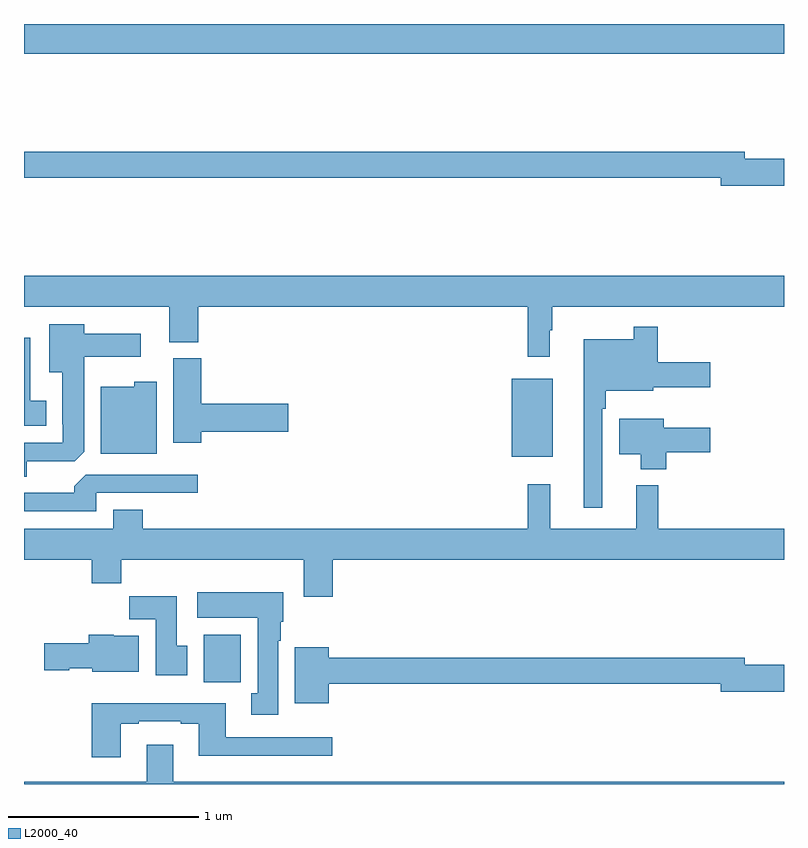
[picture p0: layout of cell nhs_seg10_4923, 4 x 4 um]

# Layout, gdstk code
import gdstk
lib = gdstk.Library(unit=1e-6, precision=1e-09)
def R(c, l, rs):  # rectangles x0, y0, x1, y1
    for r in rs: c.add(gdstk.rectangle(r[:2], r[2:], *l))
def P(c, l, *ps):  # polygons
    for p in ps: c.add(gdstk.Polygon(p, *l))
L2000_40 = (2000, 40)

nhs_seg10_4923 = lib.new_cell('nhs_seg10_4923')
R(nhs_seg10_4923, L2000_40, [(395.945,1269.036,396.141,1269.286), (397.568,1270.223,397.783,1270.633), (395,1272.344,399,1272.5)])
P(nhs_seg10_4923, L2000_40, [(399,1271.792),(398.794,1271.792),(398.794,1271.828),(395,1271.828),(395,1271.692),(398.666,1271.692),(398.666,1271.65),(399,1271.65)],
  [(397.768,1270.889),(397.78,1270.889),(397.78,1271.012),(399,1271.012),(399,1271.176),(395,1271.176),(395,1271.012),(395.765,1271.012),(395.765,1270.825),(395.918,1270.825),(395.918,1271.012),(397.651,1271.012),(397.651,1270.749),(397.768,1270.749)],
  [(395.014,1270.2),(395.268,1270.2),(395.317,1270.249),(395.317,1270.748),(395.614,1270.748),(395.614,1270.87),(395.317,1270.87),(395.317,1270.921),(395.132,1270.921),(395.132,1270.667),(395.201,1270.667),(395.201,1270.393),(395.205,1270.393),(395.205,1270.296),(395,1270.296),(395,1270.117),(395.014,1270.117)],
  [(398.043,1270.475),(398.063,1270.475),(398.063,1270.571),(398.313,1270.571),(398.313,1270.589),(398.611,1270.589),(398.611,1270.719),(398.336,1270.719),(398.336,1270.906),(398.208,1270.906),(398.208,1270.84),(397.946,1270.84),(397.946,1269.954),(398.043,1269.954)],
  [(395.116,1270.516),(395.032,1270.516),(395.032,1270.849),(395,1270.849),(395,1270.385),(395.116,1270.385)],
  [(395.933,1270.355),(396.391,1270.355),(396.391,1270.502),(395.933,1270.502),(395.933,1270.74),(395.786,1270.74),(395.786,1270.296),(395.933,1270.296)],
  [(395.698,1270.618),(395.58,1270.618),(395.58,1270.591),(395.405,1270.591),(395.405,1270.238),(395.698,1270.238)],
  [(398.381,1270.246),(398.611,1270.246),(398.611,1270.375),(398.368,1270.375),(398.368,1270.423),(398.132,1270.423),(398.132,1270.235),(398.246,1270.235),(398.246,1270.157),(398.381,1270.157)],
  [(395.379,1270.032),(395.914,1270.032),(395.914,1270.128),(395.325,1270.128),(395.264,1270.066),(395.264,1270.032),(395,1270.032),(395,1269.936),(395.379,1269.936)],
  [(396.626,1269.68),(399,1269.68),(399,1269.844),(398.339,1269.844),(398.339,1270.072),(398.222,1270.072),(398.222,1269.844),(397.769,1269.844),(397.769,1270.078),(397.651,1270.078),(397.651,1269.844),(395.624,1269.844),(395.624,1269.943),(395.471,1269.943),(395.471,1269.844),(395,1269.844),(395,1269.68),(395.357,1269.68),(395.357,1269.556),(395.513,1269.556),(395.513,1269.68),(396.473,1269.68),(396.473,1269.486),(396.626,1269.486)],
  [(396.337,1269.254),(396.352,1269.254),(396.352,1269.354),(396.364,1269.354),(396.364,1269.508),(395.913,1269.508),(395.913,1269.374),(396.23,1269.374),(396.23,1268.977),(396.197,1268.977),(396.197,1268.865),(396.337,1268.865)],
  [(395.86,1269.228),(395.803,1269.228),(395.803,1269.487),(395.554,1269.487),(395.554,1269.368),(395.693,1269.368),(395.693,1269.072),(395.86,1269.072)],
  [(395.605,1269.28),(395.472,1269.28),(395.472,1269.286),(395.342,1269.286),(395.342,1269.24),(395.106,1269.24),(395.106,1269.098),(395.238,1269.098),(395.238,1269.11),(395.358,1269.11),(395.358,1269.092),(395.605,1269.092)],
  [(396.604,1269.028),(398.666,1269.028),(398.666,1268.986),(399,1268.986),(399,1269.128),(398.794,1269.128),(398.794,1269.164),(396.604,1269.164),(396.604,1269.22),(396.425,1269.22),(396.425,1268.924),(396.604,1268.924)],
  [(395.509,1268.817),(395.605,1268.817),(395.605,1268.829),(395.825,1268.829),(395.825,1268.817),(395.921,1268.817),(395.921,1268.648),(396.622,1268.648),(396.622,1268.745),(396.061,1268.745),(396.061,1268.926),(395.357,1268.926),(395.357,1268.64),(395.509,1268.64)],
  [(399,1268.512),(395.785,1268.512),(395.785,1268.707),(395.645,1268.707),(395.645,1268.512),(395,1268.512),(395,1268.5),(399,1268.5)])

lib.write_gds('nhs_seg10_4923.gds')
